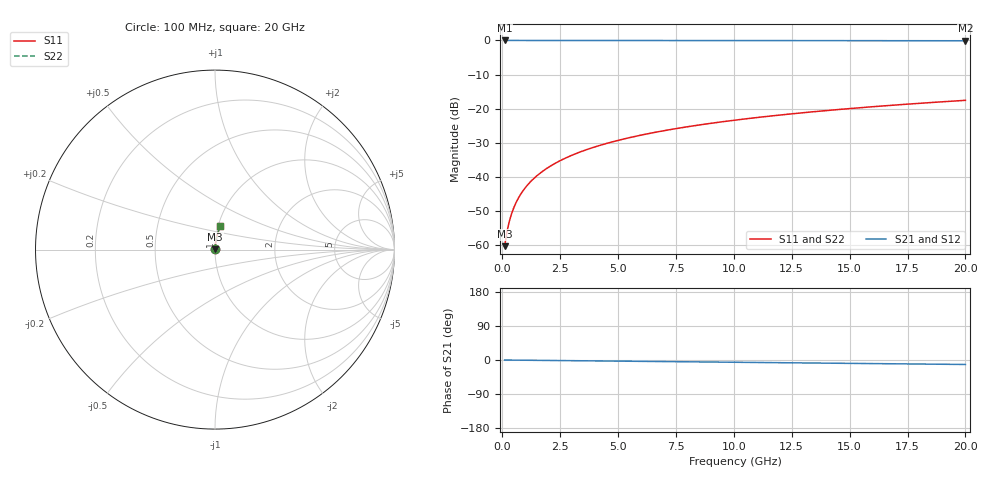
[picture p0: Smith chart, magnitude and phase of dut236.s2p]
! Touchstone file exported from HFSS 2026.1.0
!  File:  C:/ffzhzh/LocalFiles/Ansys_Project_Files/temp_train_TSV_236_1782992514_6248.aedt
!  Generated:  07:44:07 PM Jul  2, 2026
!  Design:  TSV
!  Project:  temp_train_TSV_236_1782992514_6248
! Variables:
!  h_bsmrdl = 2um
!  h_ox = 20um
!  h_rdl = 5um
!  h_sub = 84.28um
!  h_tmrdl = 5um
!  h_tsv = 84.28um
!  h_via = 3um
!  l_bsmrdl = 300um
!  l_sub = 407.76um
!  l_tmrdl = 200um
!  m_sub = 200um
!  pitch = 57.05um
!  r_tsv = 3.88um
!  s_tmrdl = 10um
!  w_bsmrdl = 18um
!  w_sub = 500um
!  w_tmrdl = 12um
!  x_tsv_center1 = 206um
!  x_tsv_center2 = 524um
!  x_tsv_center3 = 736um
!  x_tsv_center4 = 1054um
!  x_tsv_center5 = 1266um
!  x_tsv_center6 = 1584um
# GHz S MA R 50.000000
! Terminal data exported
! Port[1] = TSV1_1_T1
! Port[2] = TSV1_1_T2
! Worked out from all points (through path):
!   200 points, 100 MHz to 20 GHz, reference 50 ohm
!   highest |S21| = -0.01 dB at 100 MHz (marker M1); lowest = -0.1 dB at 20 GHz (marker M2)
!   group delay of S21, straight-line fit = 1.64 ps
!   lowest |S11| = -60.2 dB at 100 MHz (marker M3), VSWR 1.00, Z = 50.1 + j0.0711 ohm
!   |S11| at or under -10 dB: start of sweep to end of sweep
!   |S22| runs from -60.2 to -17.5 dB; largest |S21 - S12| = 3e-15
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0.1  0.0009741 46.8  0.9993 -0.1  0.9993 -0.1  0.0009741 46.8
! Gamma 0 0 0 0
! Port Impedance 50 0 50 0
0.2  0.00157 64.4  0.9993 -0.1  0.9993 -0.1  0.00157 64.4
0.3  0.002228 71.9  0.9993 -0.2  0.9993 -0.2  0.002228 71.9
0.4  0.002903 75.9  0.9993 -0.2  0.9993 -0.2  0.002903 75.9
0.5  0.003585 78.3  0.9993 -0.3  0.9993 -0.3  0.003585 78.3
0.7  0.004959 81.2  0.9993 -0.4  0.9993 -0.4  0.004959 81.2
0.8  0.005648 82.1  0.9992 -0.5  0.9992 -0.5  0.005648 82.1
1  0.007029 83.3  0.9992 -0.6  0.9992 -0.6  0.007029 83.3
1.2  0.008412 84.1  0.9992 -0.7  0.9992 -0.7  0.008412 84.1
1.4  0.009796 84.6  0.9992 -0.9  0.9992 -0.9  0.009796 84.6
1.7  0.01187 85.0  0.9991 -1.0  0.9991 -1.0  0.01187 85.0
2  0.01394 85.3  0.999 -1.2  0.999 -1.2  0.01394 85.3
2.7  0.01877 85.5  0.9989 -1.6  0.9989 -1.6  0.01877 85.5
3.5  0.02425 85.4  0.9986 -2.1  0.9986 -2.1  0.02425 85.4
4.2  0.02902 85.1  0.9984 -2.5  0.9984 -2.5  0.02902 85.1
5  0.03444 84.8  0.9981 -3.0  0.9981 -3.0  0.03444 84.8
6.8  0.04653 84.0  0.9973 -4.1  0.9973 -4.1  0.04653 84.0
8.3  0.05654 83.2  0.9966 -5.0  0.9966 -5.0  0.05654 83.2
10.1  0.06847 82.3  0.9957 -6.0  0.9957 -6.0  0.06847 82.3
13.4  0.09018 80.6  0.9937 -8.0  0.9937 -8.0  0.09018 80.6
16.7  0.1117 78.8  0.9912 -9.9  0.9912 -9.9  0.1117 78.8
20  0.1328 77.0  0.9884 -11.8  0.9884 -11.8  0.1328 77.0
